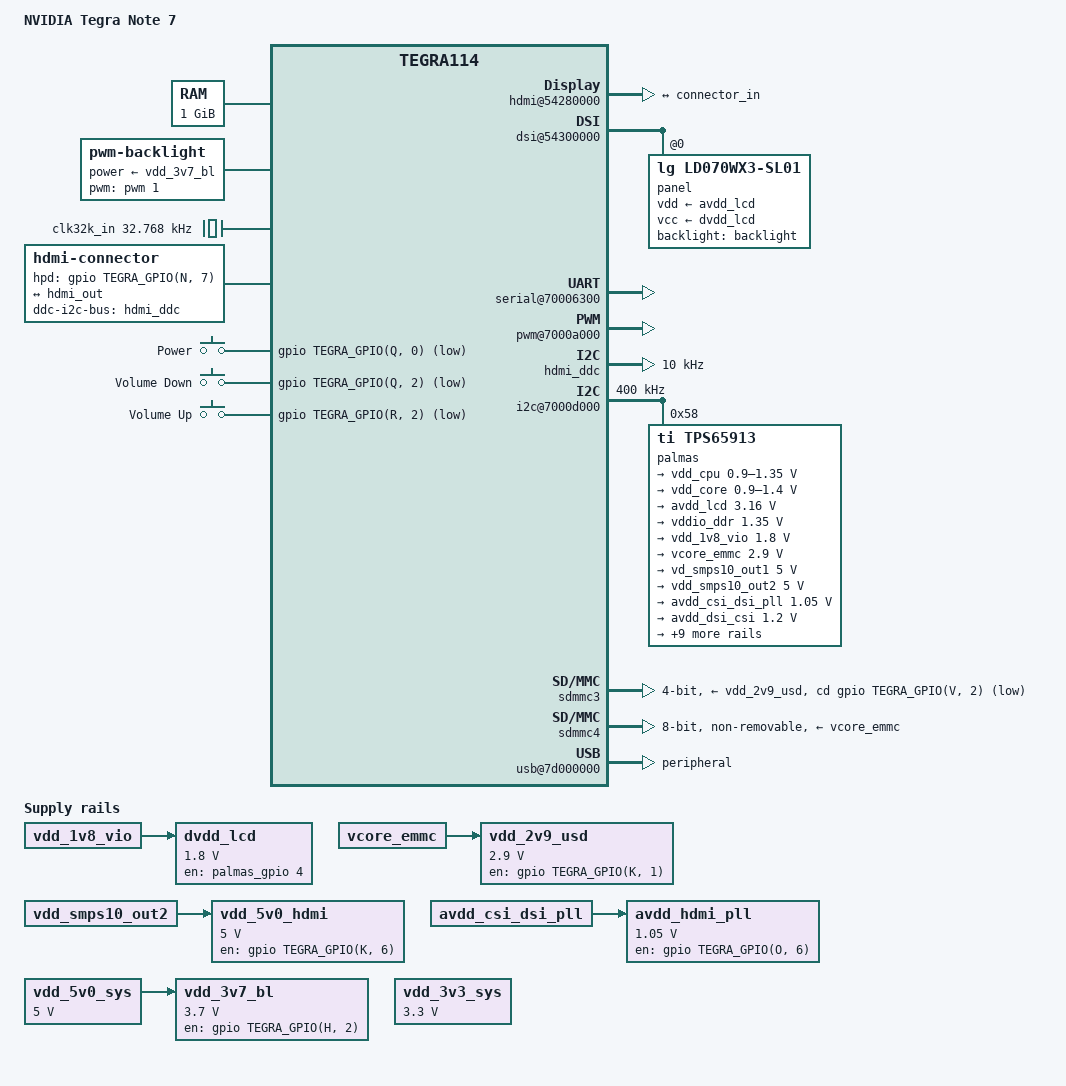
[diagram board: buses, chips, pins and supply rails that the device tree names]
// SPDX-License-Identifier: GPL-2.0
/dts-v1/;

#include <dt-bindings/input/input.h>
#include "tegra114.dtsi"

/ {
	model = "NVIDIA Tegra Note 7";
	compatible = "nvidia,tegratab", "nvidia,tegra114";
	chassis-type = "tablet";

	aliases {
		mmc0 = &sdmmc4; /* eMMC */
		mmc1 = &sdmmc3; /* uSD slot */

		rtc0 = &palmas;
		rtc1 = "/rtc@7000e000";

		display0 = &dsia;
		display1 = &hdmi;

		serial0 = &uartd; /* Console */
	};

	chosen {
		/* TN7's bootloader's arguments need to be overridden */
		bootargs = "console=ttyS0,115200n8 console=tty1 gpt fbcon=rotate:2";
		/* TN7's bootloader will place initrd at this address */
		linux,initrd-start = <0x82000000>;
		linux,initrd-end = <0x82800000>;
	};

	firmware {
		trusted-foundations {
			compatible = "tlm,trusted-foundations";
			tlm,version-major = <2>;
			tlm,version-minor = <8>;
		};
	};

	memory@80000000 {
		reg = <0x80000000 0x40000000>;
	};

	reserved-memory {
		#address-cells = <1>;
		#size-cells = <1>;
		ranges;

		linux,cma@80000000 {
			compatible = "shared-dma-pool";
			alloc-ranges = <0x80000000 0x30000000>;
			size = <0x10000000>;		/* 256MiB */
			linux,cma-default;
			reusable;
		};

		bootloader-firmware@b7e00000 {
			reg = <0xb7e00000 0x8000000>;   /* 128MB */
			no-map;
		};

		trustzone@bfe00000 {
			reg = <0xbfe00000 0x200000>;	/* 2MB */
			no-map;
		};
	};

	host1x@50000000 {
		hdmi@54280000 {
			status = "okay";

			hdmi-supply = <&vdd_5v0_hdmi>;
			pll-supply = <&avdd_hdmi_pll>;
			vdd-supply = <&avdd_hdmi>;

			port@0 {
				hdmi_out: endpoint {
					remote-endpoint = <&connector_in>;
				};
			};
		};

		dsi@54300000 {
			status = "okay";

			avdd-dsi-csi-supply = <&avdd_dsi_csi>;

			panel@0 {
				compatible = "lg,ld070wx3-sl01";
				reg = <0>;

				backlight = <&backlight>;

				vdd-supply = <&avdd_lcd>;
				vcc-supply = <&dvdd_lcd>;
			};
		};
	};

	vde@6001a000 {
		assigned-clocks = <&tegra_car TEGRA114_CLK_VDE>;
		assigned-clock-parents = <&tegra_car TEGRA114_CLK_PLL_P>;
		assigned-clock-rates = <408000000>;
	};

	pinmux@70000868 {
		pinctrl-names = "default";
		pinctrl-0 = <&state_default>;

		state_default: pinmux {
			/* MicroSD pinmux */
			sdmmc3_clk {
				nvidia,pins = "sdmmc3_clk_pa6";
				nvidia,function = "sdmmc3";
				nvidia,pull = <TEGRA_PIN_PULL_NONE>;
				nvidia,tristate = <TEGRA_PIN_DISABLE>;
				nvidia,enable-input = <TEGRA_PIN_ENABLE>;
			};
			sdmmc3_data {
				nvidia,pins = "sdmmc3_cmd_pa7",
						"sdmmc3_dat0_pb7",
						"sdmmc3_dat1_pb6",
						"sdmmc3_dat2_pb5",
						"sdmmc3_dat3_pb4",
						"sdmmc3_cd_n_pv2",
						"sdmmc3_clk_lb_out_pee4",
						"sdmmc3_clk_lb_in_pee5";
				nvidia,function = "sdmmc3";
				nvidia,pull = <TEGRA_PIN_PULL_UP>;
				nvidia,tristate = <TEGRA_PIN_DISABLE>;
				nvidia,enable-input = <TEGRA_PIN_ENABLE>;
			};
			microsd_pwr {
				nvidia,pins = "gmi_clk_pk1";
				nvidia,function = "gmi";
				nvidia,pull = <TEGRA_PIN_PULL_NONE>;
				nvidia,tristate = <TEGRA_PIN_DISABLE>;
				nvidia,enable-input = <TEGRA_PIN_DISABLE>;
			};

			/* EMMC pinmux */
			sdmmc4_clk_cmd {
				nvidia,pins = "sdmmc4_clk_pcc4";
				nvidia,function = "sdmmc4";
				nvidia,pull = <TEGRA_PIN_PULL_NONE>;
				nvidia,tristate = <TEGRA_PIN_DISABLE>;
				nvidia,enable-input = <TEGRA_PIN_ENABLE>;
			};
			sdmmc4_data {
				nvidia,pins = "sdmmc4_cmd_pt7",
						"sdmmc4_dat0_paa0",
						"sdmmc4_dat1_paa1",
						"sdmmc4_dat2_paa2",
						"sdmmc4_dat3_paa3",
						"sdmmc4_dat4_paa4",
						"sdmmc4_dat5_paa5",
						"sdmmc4_dat6_paa6",
						"sdmmc4_dat7_paa7";
				nvidia,function = "sdmmc4";
				nvidia,pull = <TEGRA_PIN_PULL_UP>;
				nvidia,tristate = <TEGRA_PIN_DISABLE>;
				nvidia,enable-input = <TEGRA_PIN_ENABLE>;
			};

			/* I2C pinmux */
			gen1_i2c {
				nvidia,pins = "gen1_i2c_scl_pc4",
						"gen1_i2c_sda_pc5";
				nvidia,function = "i2c1";
				nvidia,pull = <TEGRA_PIN_PULL_NONE>;
				nvidia,tristate = <TEGRA_PIN_DISABLE>;
				nvidia,enable-input = <TEGRA_PIN_ENABLE>;
				nvidia,open-drain = <TEGRA_PIN_ENABLE>;
				nvidia,lock = <TEGRA_PIN_DISABLE>;
			};

			gen2_i2c {
				nvidia,pins = "gen2_i2c_scl_pt5",
						"gen2_i2c_sda_pt6";
				nvidia,function = "i2c2";
				nvidia,pull = <TEGRA_PIN_PULL_NONE>;
				nvidia,tristate = <TEGRA_PIN_DISABLE>;
				nvidia,enable-input = <TEGRA_PIN_ENABLE>;
				nvidia,open-drain = <TEGRA_PIN_ENABLE>;
				nvidia,lock = <TEGRA_PIN_DISABLE>;
			};

			cam_i2c {
				nvidia,pins = "cam_i2c_scl_pbb1",
						"cam_i2c_sda_pbb2";
				nvidia,function = "i2c3";
				nvidia,pull = <TEGRA_PIN_PULL_NONE>;
				nvidia,tristate = <TEGRA_PIN_DISABLE>;
				nvidia,enable-input = <TEGRA_PIN_ENABLE>;
				nvidia,open-drain = <TEGRA_PIN_ENABLE>;
				nvidia,lock = <TEGRA_PIN_DISABLE>;
			};

			ddc_i2c {
				nvidia,pins = "ddc_scl_pv4",
						"ddc_sda_pv5";
				nvidia,function = "i2c4";
				nvidia,pull = <TEGRA_PIN_PULL_NONE>;
				nvidia,tristate = <TEGRA_PIN_DISABLE>;
				nvidia,enable-input = <TEGRA_PIN_ENABLE>;
				nvidia,lock = <TEGRA_PIN_DISABLE>;
			};

			pwr_i2c {
				nvidia,pins = "pwr_i2c_scl_pz6",
						"pwr_i2c_sda_pz7";
				nvidia,function = "i2cpwr";
				nvidia,pull = <TEGRA_PIN_PULL_NONE>;
				nvidia,tristate = <TEGRA_PIN_DISABLE>;
				nvidia,enable-input = <TEGRA_PIN_ENABLE>;
				nvidia,open-drain = <TEGRA_PIN_ENABLE>;
				nvidia,lock = <TEGRA_PIN_DISABLE>;
			};

			/* HDMI pinmux */
			hdmi_hpd {
				nvidia,pins = "hdmi_int_pn7";
				nvidia,function = "rsvd1";
				nvidia,pull = <TEGRA_PIN_PULL_DOWN>;
				nvidia,tristate = <TEGRA_PIN_DISABLE>;
				nvidia,enable-input = <TEGRA_PIN_ENABLE>;
			};
			hdmi_cec {
				nvidia,pins = "hdmi_cec_pee3";
				nvidia,function = "cec";
				nvidia,pull = <TEGRA_PIN_PULL_NONE>;
				nvidia,tristate = <TEGRA_PIN_DISABLE>;
				nvidia,enable-input = <TEGRA_PIN_ENABLE>;
			};

			/* GPIO power/drive control */
			drive_sdio1 {
				nvidia,pins = "drive_sdio1";
				nvidia,high-speed-mode = <TEGRA_PIN_ENABLE>;
				nvidia,schmitt = <TEGRA_PIN_DISABLE>;
				nvidia,pull-down-strength = <36>;
				nvidia,pull-up-strength = <20>;
				nvidia,slew-rate-rising = <TEGRA_PIN_SLEW_RATE_SLOW>;
				nvidia,slew-rate-falling = <TEGRA_PIN_SLEW_RATE_SLOW>;
			};
			drive_sdio3 {
				nvidia,pins = "drive_sdio3";
				nvidia,high-speed-mode = <TEGRA_PIN_ENABLE>;
				nvidia,schmitt = <TEGRA_PIN_DISABLE>;
				nvidia,pull-down-strength = <22>;
				nvidia,pull-up-strength = <36>;
				nvidia,slew-rate-rising = <TEGRA_PIN_SLEW_RATE_FASTEST>;
				nvidia,slew-rate-falling = <TEGRA_PIN_SLEW_RATE_FASTEST>;
			};
			drive_gma {
				nvidia,pins = "drive_gma";
				nvidia,high-speed-mode = <TEGRA_PIN_ENABLE>;
				nvidia,schmitt = <TEGRA_PIN_DISABLE>;
				nvidia,pull-down-strength = <2>;
				nvidia,pull-up-strength = <2>;
				nvidia,slew-rate-rising = <TEGRA_PIN_SLEW_RATE_FASTEST>;
				nvidia,slew-rate-falling = <TEGRA_PIN_SLEW_RATE_FASTEST>;
			};
		};
	};

	serial@70006300 {
		status = "okay";
	};

	pwm@7000a000 {
		status = "okay";
	};

	hdmi_ddc: i2c@7000c700 {
		status = "okay";
		clock-frequency = <10000>;
	};

	i2c@7000d000 {
		status = "okay";
		clock-frequency = <400000>;

		palmas: pmic@58 {
			compatible = "ti,tps65913", "ti,palmas";
			reg = <0x58>;
			interrupts = <GIC_SPI 86 IRQ_TYPE_LEVEL_HIGH>;

			#interrupt-cells = <2>;
			interrupt-controller;

			ti,system-power-controller;

			palmas_extcon: extcon {
				compatible = "ti,palmas-usb-vid";
				ti,enable-vbus-detection;
				ti,enable-id-detection;
			};

			palmas_clk32kg@0 {
				compatible = "ti,palmas-clk32kg";
				#clock-cells = <0>;
			};

			palmas_gpio: gpio {
				compatible = "ti,palmas-gpio";
				gpio-controller;
				#gpio-cells = <2>;
			};

			pinmux {
				compatible = "ti,tps65913-pinctrl";
				ti,palmas-enable-dvfs1;

				pinctrl-names = "default";
				pinctrl-0 = <&palmas_default>;

				palmas_default: pinmux {
					pin_powergood {
						pins = "powergood";
						function = "powergood";
					};

					pin_vac {
						pins = "vac";
						function = "vac";
					};

					pin_gpio0 {
						pins = "gpio0";
						function = "gpio";
					};

					pin_gpio1 {
						pins = "gpio1";
						function = "gpio";
					};

					pin_gpio2 {
						pins = "gpio2";
						function = "gpio";
					};

					pin_gpio3 {
						pins = "gpio3";
						function = "gpio";
					};

					pin_gpio4 {
						pins = "gpio4";
						function = "gpio";
					};

					pin_gpio5 {
						pins = "gpio5";
						function = "gpio";
					};

					pin_gpio6 {
						pins = "gpio6";
						function = "gpio";
					};

					pin_gpio7 {
						pins = "gpio7";
						function = "gpio";
					};
				};
			};

			pmic {
				compatible = "ti,tps65913-pmic", "ti,palmas-pmic";

				ldo1-in-supply = <&vddio_ddr>;
				ldo2-in-supply = <&vddio_ddr>;
				ldo5-in-supply = <&vcore_emmc>;
				ldo6-in-supply = <&vcore_emmc>;
				ldo7-in-supply = <&vcore_emmc>;
				ldo9-in-supply = <&vcore_emmc>;
				ldoln-in-supply = <&vdd_smps10_out2>;

				regulators {
					vdd_cpu: smps123 {
						regulator-name = "vdd_cpu";
						regulator-min-microvolt = <900000>;
						regulator-max-microvolt = <1350000>;
						regulator-always-on;
						regulator-boot-on;
						ti,roof-floor = <1>;
						ti,mode-sleep = <3>;
					};

					vdd_core: smps45 {
						regulator-name = "vdd_core";
						regulator-min-microvolt = <900000>;
						regulator-max-microvolt = <1400000>;
						regulator-always-on;
						regulator-boot-on;
						ti,roof-floor = <3>;
					};

					avdd_lcd: smps6 {
						regulator-name = "vdd_lcd_hv";
						regulator-min-microvolt = <3160000>;
						regulator-max-microvolt = <3160000>;
						regulator-boot-on;
					};

					vddio_ddr: smps7 {
						regulator-name = "vddio_ddr";
						regulator-min-microvolt = <1350000>;
						regulator-max-microvolt = <1350000>;
						regulator-always-on;
						regulator-boot-on;
					};

					vdd_1v8_vio: smps8 {
						regulator-name = "vdd_1v8_gen";
						regulator-min-microvolt = <1800000>;
						regulator-max-microvolt = <1800000>;
						regulator-always-on;
						regulator-boot-on;
					};

					vcore_emmc: smps9 {
						regulator-name = "vdd_sdmmc";
						regulator-min-microvolt = <2900000>;
						regulator-max-microvolt = <2900000>;
						regulator-boot-on;
					};

					smps10_out1 {
						regulator-name = "vd_smps10_out1";
						regulator-min-microvolt = <5000000>;
						regulator-max-microvolt = <5000000>;
						regulator-always-on;
						regulator-boot-on;
					};

					vdd_smps10_out2: smps10_out2 {
						regulator-name = "vd_smps10_out2";
						regulator-min-microvolt = <5000000>;
						regulator-max-microvolt = <5000000>;
						regulator-always-on;
						regulator-boot-on;
					};

					avdd_csi_dsi_pll: ldo1 {
						regulator-name = "avdd_csi_dsi_pll";
						regulator-min-microvolt = <1050000>;
						regulator-max-microvolt = <1050000>;
						regulator-always-on;
						regulator-boot-on;
						ti,roof-floor = <3>;
					};

					avdd_dsi_csi: ldo2 {
						regulator-name = "avdd_dsi_csi";
						regulator-min-microvolt = <1200000>;
						regulator-max-microvolt = <1200000>;
						regulator-boot-on;
					};

					ldo3 {
						regulator-name = "vpp_fuse";
						regulator-min-microvolt = <1800000>;
						regulator-max-microvolt = <1800000>;
					};

					ldo4 {
						regulator-name = "avdd_ts";
						regulator-min-microvolt = <3000000>;
						regulator-max-microvolt = <3300000>;
					};

					ldo5 {
						regulator-name = "vdd_2v8_vcm";
						regulator-min-microvolt = <2800000>;
						regulator-max-microvolt = <2800000>;
					};

					ldo6 {
						regulator-name = "vdd_dev";
						regulator-min-microvolt = <2850000>;
						regulator-max-microvolt = <2850000>;
					};

					ldo7 {
						regulator-name = "avdd_cam1";
						regulator-min-microvolt = <2700000>;
						regulator-max-microvolt = <2700000>;
					};

					ldo8 {
						regulator-name = "vdd_rtc";
						regulator-min-microvolt = <950000>;
						regulator-max-microvolt = <950000>;
						regulator-always-on;
						regulator-boot-on;
						ti,enable-ldo8-tracking;
					};

					vddio_usd: ldo9 {
						regulator-name = "vddio_sdmmc";
						regulator-min-microvolt = <1800000>;
						regulator-max-microvolt = <2900000>;
					};

					avdd_hdmi: ldoln {
						regulator-name = "avdd_hdmi";
						regulator-min-microvolt = <3300000>;
						regulator-max-microvolt = <3300000>;
						regulator-boot-on;
					};

					avdd_usb: ldousb {
						regulator-name = "avdd_usb";
						regulator-min-microvolt = <3300000>;
						regulator-max-microvolt = <3300000>;
						regulator-boot-on;
					};
				};
			};

			rtc {
				compatible = "ti,palmas-rtc";
				interrupt-parent = <&palmas>;
				interrupts = <8 IRQ_TYPE_NONE>;
			};

		};
	};

	pmc@7000e400 {
		status = "okay";
		nvidia,invert-interrupt;
		nvidia,suspend-mode = <2>;
		nvidia,cpu-pwr-good-time = <300>;
		nvidia,cpu-pwr-off-time = <300>;
		nvidia,core-pwr-good-time = <641 3845>;
		nvidia,core-pwr-off-time = <2000>;
		nvidia,core-power-req-active-high;
		nvidia,sys-clock-req-active-high;

		/* Clear DEV_ON bit in DEV_CTRL register of TPS65913 PMIC */
		i2c-thermtrip {
			nvidia,i2c-controller-id = <4>;
			nvidia,bus-addr = <0x58>;
			nvidia,reg-addr = <0xA0>;
			nvidia,reg-data = <0x00>;
		};
	};

	/* MicroSD */
	sdmmc3: mmc@78000400 {
		status = "okay";

		bus-width = <4>;
		cd-gpios = <&gpio TEGRA_GPIO(V, 2) GPIO_ACTIVE_LOW>;

		nvidia,default-tap = <0x3>;
		nvidia,default-trim = <0x3>;

		vmmc-supply = <&vdd_2v9_usd>;
		vqmmc-supply = <&vddio_usd>;
	};

	/* eMMC */
	sdmmc4: mmc@78000600 {
		status = "okay";
		bus-width = <8>;

		non-removable;
		mmc-ddr-1_8v;

		vmmc-supply = <&vcore_emmc>;
		vqmmc-supply = <&vdd_1v8_vio>;
	};

	/* Micro USB */
	usb@7d000000 {
		compatible = "nvidia,tegra114-udc";
		status = "okay";
		dr_mode = "peripheral";
	};

	usb-phy@7d000000 {
		status = "okay";
		dr_mode = "peripheral";
		nvidia,xcvr-setup = <7>;
		nvidia,xcvr-lsfslew = <2>;
		nvidia,xcvr-lsrslew = <2>;
		vbus-supply = <&avdd_usb>;
	};

	backlight: backlight {
		compatible = "pwm-backlight";

		power-supply = <&vdd_3v7_bl>;
		pwms = <&pwm 1 1000000>;

		brightness-levels = <1 255>;
		num-interpolated-steps = <254>;
		default-brightness-level = <224>;
	};

	clk32k_in: clock-32k {
		compatible = "fixed-clock";
		#clock-cells = <0>;
		clock-frequency = <32768>;
		clock-output-names = "ref-oscillator";
	};

	connector {
		compatible = "hdmi-connector";
		type = "d";

		hpd-gpios = <&gpio TEGRA_GPIO(N, 7) GPIO_ACTIVE_HIGH>;
		ddc-i2c-bus = <&hdmi_ddc>;

		port {
			connector_in: endpoint {
				remote-endpoint = <&hdmi_out>;
			};
		};
	};

	gpio-keys {
		compatible = "gpio-keys";

		key-power {
			label = "Power";
			gpios = <&gpio TEGRA_GPIO(Q, 0) GPIO_ACTIVE_LOW>;
			linux,code = <KEY_POWER>;
			debounce-interval = <10>;
			wakeup-source;
		};

		key-volume-down {
			label = "Volume Down";
			gpios = <&gpio TEGRA_GPIO(Q, 2) GPIO_ACTIVE_LOW>;
			linux,code = <KEY_VOLUMEDOWN>;
			debounce-interval = <10>;
		};

		key-volume-up {
			label = "Volume Up";
			gpios = <&gpio TEGRA_GPIO(R, 2) GPIO_ACTIVE_LOW>;
			linux,code = <KEY_VOLUMEUP>;
			debounce-interval = <10>;
		};
	};

	vdd_5v0_sys: regulator-5v0-sys {
		compatible = "regulator-fixed";
		regulator-name = "vdd_5v0_sys";
		regulator-min-microvolt = <5000000>;
		regulator-max-microvolt = <5000000>;
		regulator-always-on;
		regulator-boot-on;
	};

	vdd_3v3_sys: regulator-3v3-sys {
		compatible = "regulator-fixed";
		regulator-name = "vdd_3v3_sys";
		regulator-min-microvolt = <3300000>;
		regulator-max-microvolt = <3300000>;
		regulator-always-on;
		regulator-boot-on;
	};

	vdd_3v7_bl: regulator-bl-en {
		compatible = "regulator-fixed";
		regulator-name = "vdd_3v7_bl";
		regulator-min-microvolt = <3700000>;
		regulator-max-microvolt = <3700000>;
		regulator-boot-on;
		gpio = <&gpio TEGRA_GPIO(H, 2) GPIO_ACTIVE_HIGH>;
		enable-active-high;
		vin-supply = <&vdd_5v0_sys>;
	};

	dvdd_lcd: regulator-lcd {
		compatible = "regulator-fixed";
		regulator-name = "dvdd_1v8_lcd";
		regulator-min-microvolt = <1800000>;
		regulator-max-microvolt = <1800000>;
		regulator-boot-on;
		gpio = <&palmas_gpio 4 GPIO_ACTIVE_HIGH>;
		enable-active-high;
		vin-supply = <&vdd_1v8_vio>;
	};

	vdd_2v9_usd: regulator-vdd-usd {
		compatible = "regulator-fixed";
		regulator-name = "vdd_sd_slot";
		regulator-min-microvolt = <2900000>;
		regulator-max-microvolt = <2900000>;
		regulator-boot-on;
		gpio = <&gpio TEGRA_GPIO(K, 1) GPIO_ACTIVE_HIGH>;
		enable-active-high;
		vin-supply = <&vcore_emmc>;
	};

	vdd_5v0_hdmi: regulator-hdmi {
		compatible = "regulator-fixed";
		regulator-name = "vdd_5v0_hdmi";
		regulator-min-microvolt = <5000000>;
		regulator-max-microvolt = <5000000>;
		gpio = <&gpio TEGRA_GPIO(K, 6) GPIO_ACTIVE_HIGH>;
		enable-active-high;
		vin-supply = <&vdd_smps10_out2>;
	};

	avdd_hdmi_pll: regulator-hdmi-pll {
		compatible = "regulator-fixed";
		regulator-name = "avdd_hdmi_pll";
		regulator-min-microvolt = <1050000>;
		regulator-max-microvolt = <1050000>;
		gpio = <&gpio TEGRA_GPIO(O, 6) GPIO_ACTIVE_HIGH>;
		enable-active-high;
		vin-supply = <&avdd_csi_dsi_pll>;
	};
};
